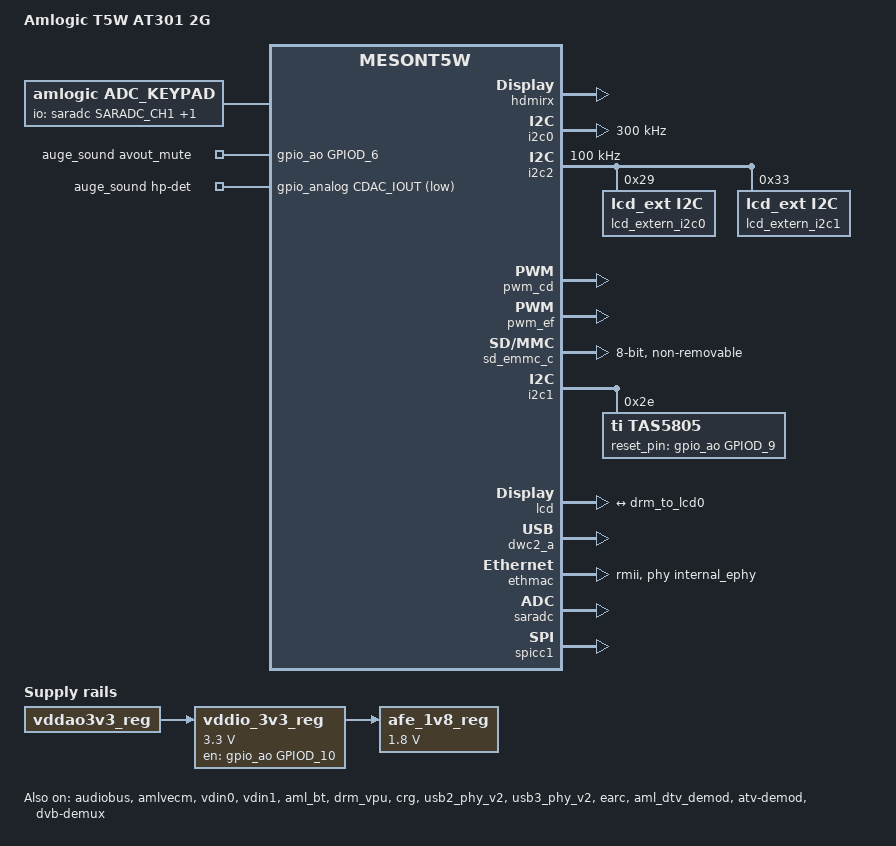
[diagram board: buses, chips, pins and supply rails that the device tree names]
// SPDX-License-Identifier: (GPL-2.0+ OR MIT)
/*
 * Copyright (c) 2019 Amlogic, Inc. All rights reserved.
 */

/dts-v1/;

#include "mesont5w.dtsi"
#include "hdr10plus.dtsi"
#include "partition_normal_linux.dtsi"
#include "mesont5w_at301-panel.dtsi"
#include "mesont5w_drm.dtsi"
#include "meson-ir-map-linux.dtsi"

/ {
	model = "Amlogic T5W AT301 2G";
	amlogic-dt-id = "t5w_at301_2g";
	compatible = "amlogic, t5w";
	interrupt-parent = <&gic>;
	#address-cells = <1>;
	#size-cells = <1>;

	aliases {
		serial0 = &uart_B;
		serial1 = &uart_A;
		serial2 = &uart_C;
		i2c0 = &i2c0;
		i2c1 = &i2c1;
		i2c2 = &i2c2;
		i2c3 = &i2c3;
		spi1 = &spicc0;
		spi2 = &spicc1;
		spi3 = &spicc2;
		tsensor0 = &p_tsensor;
	};

	memory@0 {
		device_type = "memory";
		linux,usable-memory = <0x0 0x80000000>;
	};

	reserved-memory {
		#address-cells = <1>;
		#size-cells = <1>;
		ranges;

		ramdump_bl33z {
			compatible = "shared-dma-pool";
			size = <0x01800000>;
			alignment = <0x00400000>;
			alloc-ranges = <0x05000000 0x07000000>;
			linux,contiguous-region;
			no-map;
			status = "disabled";
		};

		ramdump_data@0 {
			reg = <0x0 0x0>;
			status = "disabled"; /* disabled as default */
		};

		/* global autoconfigured region for contiguous allocations */
		ramoops@7400000 {
			compatible = "ramoops";
			reg = <0x07400000 0x00080000>;/* addr set in uboot */
			record-size = <0x30000>;
			console-size = <0x40000>;
			ftrace-size = <0x0>;
			pmsg-size = <0x10000>;
		};

		dmc_reserved:linux,dmc_monitor {
			compatible = "amlogic,dmc_monitor-reserved";
			reg = <0x0 0x80000>;
		};

		debug_reserved:linux,iotrace {
			compatible = "amlogic, iotrace";
			reg = <0x04f00000 0x00100000>;
			io-size = <0x1b000>;
			sched-size = <0x2000>;
			irq-size = <0x1000>;
			smc-size = <0x1000>;
			misc-size = <0x1000>;
		};

		defendkey_reserved:linux,defendkey {
			compatible = "amlogic, defendkey";
			reg = <0x04e00000 0x100000>;
		};

		secmon_reserved: linux,secmon {
			compatible = "shared-dma-pool";
			no-map;
			size = <0x400000>;
			alignment = <0x400000>;
			alloc-ranges = <0x05000000 0x400000>;
		};

		logo_reserved:linux,meson-fb {
			compatible = "amlogic, meson-fb";
			/* keep sync with fb */
			/* fox example:logo_addr = "0x3f800000"*/
			alignment = <0x400000>;
			reg = <0x3f800000 0x800000>;
		};

		lcd_cma_reserved:linux,lcd-reserved {
			compatible = "amlogic, lcd_rsvd";
			reg = <0x3ec00000 0x00a80000>;
			tcon-size = <0x00a02840>;
		};

		/* global autoconfigured region for contiguous allocations */
		linux,cma {
			compatible = "shared-dma-pool";
			reusable;
			size = <0x800000>;
			alignment = <0x400000>;
			linux,cma-default;
		};

		/*  vdin0 CMA pool */
		/*vdin0_cma_reserved:linux,vdin0_cma {*/
		/*	compatible = "shared-dma-pool";*/
		/*	reusable;*/
			/* up to 1920x1080 yuv422 8bit and 5 buffers
			 * 1920x1080x2x5 = 20 M
			 */
		/*	size = <0x01400000>;*/
		/*	alignment = <0x400000>;*/
		/*};*/
		/*  vdin1 CMA pool */
		vdin1_cma_reserved:linux,vdin1_cma {
			compatible = "shared-dma-pool";
			reusable;
			/* up to 1920x1080 yuv422 8bit and 5 buffers
			 * 1920x1080x2x5 = 20 M
			 */
			size = <0x00c00000>;
			alignment = <0x400000>;
		};

		codec_mm_cma:linux,codec_mm_cma {
			compatible = "shared-dma-pool";
			reusable;
			/* ion_codec_mm max can alloc size 80M*/
			size = <0x1bc00000>;
			alignment = <0x400000>;
			linux,contiguous-region;
		};

		/* demod_cma_reserved:linux,demod_cma {
		 *	compatible = "shared-dma-pool";
		 *	reusable;
		 *	// 40M
		 *	size = <0x02800000>;
		 *	alignment = <0x400000>;
		 *};
		 */

		/*di CMA pool */
		di_cma_reserved:linux,di_cma {
			compatible = "shared-dma-pool";
			reusable;
			/* buffer_size = 3621952(yuv422 8bit)
			 *  | 4736064(yuv422 10bit)
			 *  | 4074560(yuv422 10bit full pack mode)
			 * 10x3621952=34.6M(0x23) support 8bit
			 * 10x4736064=45.2M(0x2e) support 12bit
			 * 10x4074560=40M(0x28) support 10bit
			 */
			//size = <0x0 0x0B000000>;
			size = <0x0>;
			alignment = <0x400000>;
		};

		/* codec shared reserved */
		codec_mm_reserved:linux,codec_mm_reserved {
			compatible = "amlogic, codec-mm-reserved";
			size = <0x0>;
			alignment = <0x100000>;
			//no-map;
		};

		secure_vdec_reserved:linux,secure_vdec_reserved {
			compatible = "amlogic, secure-vdec-reserved";
			no-map;
			size = <0x1000000>;
			alignment = <0x100000>;
		};

		dmaheap_cma_reserved:heap-gfx {
			compatible = "shared-dma-pool";
			reusable;
			/* maximum size of fbdev and wayland-drm backend
			 * fbdev: 2 * (number of /dev/fbx device) buffers
			 * wayland-drm: 4 buffers for westeros or 2 buffers for weston,
			 *   3 buffers for direct display(enabled on weston)
			 */
			size = <0x2400000>;
			alignment = <0x400000>;
		};
		dmaheap_fb_reserved:heap-fb {
			compatible = "shared-dma-pool";
			reusable;
			/* 1080p TV androidT size 36M */
			size = <0x0>;
			alignment = <0x400000>;
		};

		ion_cma_reserved:linux,ion-dev {
			compatible = "shared-dma-pool";
			reusable;
			size = <0x0>;
			alignment = <0x400000>;
		};

		ion_fb_reserved:linux,ion-fb {
			compatible = "shared-dma-pool";
			reusable;
			size = <0x0>;
			alignment = <0x400000>;
			alloc-ranges = <0x0 0x3f400000>;
		};
	};

	vddio_3v3_reg: fixedregulator@5{
		vin-supply = <&vddao3v3_reg>;
		compatible = "regulator-fixed";
		regulator-name = "VDDIO_3V3";
		regulator-min-microvolt = <3300000>;
		regulator-max-microvolt = <3300000>;
		regulator-boot-on;
/*		pinctrl-names = "default"; */
		gpio = <&gpio_ao GPIOD_10 GPIO_ACTIVE_HIGH>;	/* gpio d 10 */
		startup-delay-us = <7000>;
		enable-active-high;
		regulator-always-on;
	};

	afe_1v8_reg: fixedregulator@6{
		compatible = "regulator-fixed";
		vin-supply = <&vddio_3v3_reg>;
		regulator-name = "AFE_1V8";
		regulator-min-microvolt = <1800000>;
		regulator-max-microvolt = <1800000>;
		regulator-boot-on;
		regulator-always-on;
	};

	/* for external keypad */
	adc_keypad {
		compatible = "amlogic, adc_keypad";
		status = "okay";
		key_name = "power","vol-","vol+","enter","menu","source","exit";
		key_num = <7>;
		io-channels = <&saradc SARADC_CH1>,<&saradc SARADC_CH2>;
		io-channel-names = "key-chan-1", "key-chan-2";
		key_chan = <SARADC_CH1 SARADC_CH1 SARADC_CH1 SARADC_CH1
			SARADC_CH1 SARADC_CH2 SARADC_CH2>;
		key_code = <116 114 115 28 139 466 174>;
		key_val = <0 252 468 684 892 252 468>; // Unit: millivolt
		key_tolerance = <70 70 70 70 70 70 70>; // Unit: millivolt
	};

	/* Audio Related start */
	auge_sound {
		compatible = "amlogic, auge-sound-card";
		aml-audio-card,name = "AML-AUGESOUND";

		avout_mute-gpios = <&gpio_ao GPIOD_6 GPIO_ACTIVE_HIGH>;
		av_mute_sleep_time = <900>;
		/* headphone insert det */
		aml-audio-card,hp-det-gpio = <&gpio_analog CDAC_IOUT GPIO_ACTIVE_LOW>;

		interrupts = <GIC_SPI 235 IRQ_TYPE_EDGE_RISING>;
		interrupt-names = "audio_exception64";

		aml-audio-card,dai-link@0 {
			format = "i2s";
			mclk-fs = <256>;
			//continuous-clock;
			//bitclock-inversion;
			//frame-inversion;
			/* master mode */
			bitclock-master = <&tdma>;
			frame-master = <&tdma>;
			/* slave mode */
			/*
			 * bitclock-master = <&tdmacodec>;
			 * frame-master = <&tdmacodec>;
			 */
			/* suffix-name, sync with android audio hal used for */
			suffix-name = "alsaPORT-pcm";
			tdmacpu: cpu {
				sound-dai = <&tdma>;
				dai-tdm-slot-tx-mask =
							<1 1>;
				dai-tdm-slot-rx-mask =
							<1 1>;
				dai-tdm-slot-num = <2>;
				dai-tdm-slot-width = <32>;
				system-clock-frequency = <12288000>;
			};
			tdmacodec: codec {
				sound-dai = <&dummy_codec>;
			};
		};

		aml-audio-card,dai-link@1 {
			format = "i2s";
			mclk-fs = <256>;
			//continuous-clock;
			//bitclock-inversion;
			//frame-inversion;
			/* master mode */
			bitclock-master = <&tdmb>;
			frame-master = <&tdmb>;
			/* slave mode */
			//bitclock-master = <&tdmbcodec>;
			//frame-master = <&tdmbcodec>;
			/* suffix-name, sync with android audio hal used for */
			suffix-name = "alsaPORT-i2s-i2s4hdmirx";
			cpu {
				sound-dai = <&tdmb>;
				dai-tdm-slot-tx-mask = <1 1>;
				dai-tdm-slot-rx-mask = <1 1>;
				dai-tdm-slot-num = <2>;
				dai-tdm-slot-width = <32>;
				system-clock-frequency = <12288000>;
			};
			tdmbcodec: codec {
				prefix-names = "AMP";
				sound-dai = <&tas5805 &acodec>;
			};
		};

		aml-audio-card,dai-link@2 {
			format = "i2s";
			mclk-fs = <256>;
			//continuous-clock;
			//bitclock-inversion;
			//frame-inversion;
			/* master mode */
			bitclock-master = <&tdmc>;
			frame-master = <&tdmc>;
			/* slave mode */
			//bitclock-master = <&tdmccodec>;
			//frame-master = <&tdmccodec>;
			/* suffix-name, sync with android audio hal used for */
			suffix-name = "alsaPORT-i2s4parser";
			cpu {
				sound-dai = <&tdmc>;
				dai-tdm-slot-tx-mask = <1 1>;
				dai-tdm-slot-rx-mask = <1 1>;
				dai-tdm-slot-num = <2>;
				dai-tdm-slot-width = <32>;
				system-clock-frequency = <12288000>;
			};
			tdmccodec: codec {
				sound-dai = <&dummy_codec>;
			};
		};

		aml-audio-card,dai-link@3 {
			mclk-fs = <64>;
			/* suffix-name, sync with android audio hal used for */
			suffix-name = "alsaPORT-pdm-builtinmic";
			cpu {
				sound-dai = <&pdm>;
			};
			codec {
				sound-dai = <&dummy_codec>;
			};
		};

		aml-audio-card,dai-link@4 {
			mclk-fs = <128>;
			continuous-clock;
			/* suffix-name, sync with android audio hal used for */
			suffix-name = "alsaPORT-spdif";
			cpu {
				sound-dai = <&spdifa>;
				system-clock-frequency = <6144000>;
			};
			codec {
				sound-dai = <&dummy_codec>;
			};
		};

		aml-audio-card,dai-link@5 {
			mclk-fs = <128>;
			suffix-name = "alsaPORT-spdifb";
			cpu {
				sound-dai = <&spdifb>;
				system-clock-frequency = <6144000>;
			};
			codec {
				sound-dai = <&dummy_codec>;
			};
		};

		aml-audio-card,dai-link@6 {
			mclk-fs = <256>;
			suffix-name = "alsaPORT-tv";
			cpu {
				sound-dai = <&extn>;
				system-clock-frequency = <12288000>;
			};
			codec {
				sound-dai = <&dummy_codec>;
			};
		};

		aml-audio-card,dai-link@7 {
			mclk-fs = <256>;
			continuous-clock;
			suffix-name = "alsaPORT-loopback";
			cpu {
				sound-dai = <&loopbacka>;
				system-clock-frequency = <12288000>;
			};
			codec {
				sound-dai = <&dummy_codec>;
			};
		};

		aml-audio-card,dai-link@8 {
			mclk-fs = <256>;
			suffix-name = "alsaPORT-earc";
			cpu {
				sound-dai = <&earc>;
				system-clock-frequency = <12288000>;
			};
			codec {
				sound-dai = <&dummy_codec>;
			};
		};

	};

	aml_dtv_demod {
		compatible = "amlogic, ddemod-t5w";
		dev_name = "aml_dtv_demod";
		status = "okay";
		diseqc_name = "sgm_41286";
		pinctrl-names="if_agc_pins", "diseqc_out", "rf_agc_pins";
		pinctrl-0=<&dtvdemod_if_agc_pins>;
		pinctrl-1=<&diseqc_out>;
		pinctrl-2=<&dtvdemod_rf_agc_pins>;
		//pinctrl-3=<&diseqc_in>;
		lnb_en-gpios = <&gpio GPIOZ_2 GPIO_ACTIVE_HIGH>;
		lnb_sel-gpios = <&gpio GPIOZ_3 GPIO_ACTIVE_HIGH>;
		interrupts = <GIC_SPI 142 IRQ_TYPE_EDGE_RISING>;
		interrupt-names = "demod_isr";

		power-domains = <&pwrdm PDID_T5_DEMOD>;
		clocks = <&clkc CLKID_DEMOD_32K>;
		clock-names = "demod_32k";

		reg = <0xff670000 0x10000	/*dtv demod base*/
			   0xff646000 0x2000	/*hiu reg base*/
			   0xff800000 0x1000	/*io_aobus_base*/
			   0xffd01000 0x1000	/*reset*/
			>;

		spectrum = <1>;
		cma_mem_size = <16>; // MB
		//memory-region = <&demod_cma_reserved>;//<&demod_reserved>;
	};

	atv-demod {
		compatible = "amlogic, atv-demod";
		status = "okay";
		btsc_sap_mode = <1>;
		interrupts = <0 236 1>;
		/* pinctrl-names="atvdemod_agc_pins"; */
		/* pinctrl-0=<&atvdemod_agc_pins>; */
		reg = <0xff656000 0x2000 /* demod reg */
				0xff646000 0x2000 /* hiu reg */
				0xff634400 0x400 /* periphs reg */
				0xff64a000 0x2000>; /* audio reg */
		reg_23cf = <0x88188832>;
		/*default:0x88188832;r840 on haier:0x48188832*/
	};

	dvb-extern {
		compatible = "amlogic, dvb-extern";
		dev_name = "dvb-extern";
		status = "okay";

		fe_num = <1>;
		fe0_demod = "internal";

		tuner_num = <2>; /* tuner number, multi tuner support */
		tuner0_name = "si2151_tuner";
		tuner0_i2c_adap = <&i2c0>;
		tuner0_i2c_addr = <0x60>; /* 7 bits */
		/* tuner0_xtal = <1>; */ /* unuse for si2151 */
		/* tuner0_xtal_mode = <0>; */
		/* tuner0_xtal_cap = <8>; */

		tuner1_name = "rt710_tuner";
		tuner1_i2c_adap = <&i2c0>;
		tuner1_i2c_addr = <0xF4>;  /* 8 bits */
		tuner1_xtal = <0>; /* 0: 16MHz, 1: 24MHz */
		tuner1_xtal_mode = <0>;
					/* NO_SHARE_XTAL(0)
					 * SLAVE_XTAL_SHARE(3)
					 */
		tuner1_xtal_cap = <30>;
	};

	dvb-demux {
		compatible = "amlogic sc2, dvb-demux";
		dev_name = "dvb-demux";
		status = "okay";

		reg = <0xff610000 0x10000
				0xff800000 0x10000>;

		dmxdev_num = <0x11>;

		tsn_from = "demod";
		ts_clone = <0x0>;
		ts2_sid = <0x12>;
		ts2 = "parallel";
		ts2_control = <0x0>;
		ts2_invert = <0>;

		ts1_sid = <0x11>;
		ts1 = "parallel";
		ts1_control = <0x0>;
		ts1_invert = <0>;
		pinctrl-names = "p_ts1";
		pinctrl-0 = <&dvb_p_ts1_pins>;
	};
	dvbci {
		compatible = "amlogic, dvbci";
		dev_name = "dvbci";
		io_type = <4>; /* 0=iobus,1=spi,2=cimax,3=spi-t312 4:T5D,ci bus*/
		addr_ts_mode_multiplex = <0>; /*AT301 not multi ts and addr,default 1*/
		le_enable_level = <0>; /*LE pin enable level*/
		/*gpio pin define*/
		pinctrl-names= "ci_ts_pins", "ci_addr_pins";
		pinctrl-0=<&dvb_ci_bus_pins_all &ci_ts_pins &ci_ts_clk_pins>;
		pinctrl-1=<&dvb_ci_bus_pins &ci_addr_pins &ci_gpio_pins>;
		reg = <0xffd20000 0x1FFF>;
		/*irq define*/
		interrupts = <0 186 1
				0 187 1>;
		interrupt-names = "irq_cmp",
					"irq_timeout";
		dvbci_io {
			/*gpio define  GPIOM_27 GPIOM_28 GPIOM_29*/
			cd_pin1 = <&gpio       GPIOM_27       GPIO_ACTIVE_HIGH>;
			pwr_pin = <&gpio       GPIOM_28       GPIO_ACTIVE_HIGH>;
			le_pin  = <&gpio       GPIOM_29       GPIO_ACTIVE_HIGH>;
		};
	};

    /* SMC */
	smartcard {
		compatible = "amlogic,smartcard-sc2";
		dev_name = "smartcard";
		status = "disabled";

		reg = <0xffd25000 0x1000>;
		irq_trigger_type = "GPIO_IRQ_LOW";

		reset_pin-gpios = <&gpio GPIOZ_3 GPIO_ACTIVE_HIGH>;
		detect_pin-gpios = <&gpio GPIOM_27 GPIO_ACTIVE_HIGH>;
		enable_5v3v_pin-gpios = <&gpio GPIOM_28 GPIO_ACTIVE_HIGH>;
		enable_pin-gpios = <&gpio GPIOZ_2 GPIO_ACTIVE_HIGH>;

		interrupts = <0 37 1>;
		interrupt-names = "smc0_irq";
		/*
		 *Smc clock source, if change this,
		 *you must adjust clk and divider in smartcard.c
		 */
		smc0_clock_source = <0>;
		/*0: high voltage on detect pin indicates card in.*/
		smc0_det_invert = <0>;
		smc0_5v3v_level = <0>;
		/*Ordinarily,smartcard controller needs a enable pin.*/
		smc_need_enable_pin = "yes";
		reset_level = <0>;
		smc0_enable_level = <0>;

		pinctrl-names = "default";
		pinctrl-0 = <&sd_iso7816_pins>;

		/* For NSK2 Smartcard
		 * pinctrl-names = "default", "pins-mode0", "pins-mode1",
		 *	"pins-mode2", "data-m0-h",
		 *	"data-m1-h", "data-m2-h",
		 *	"data-m0-l", "data-m1-l",
		 *	"data-m2-l";
		 * pinctrl-0 = <&sd_iso7816_pins>;
		 * pinctrl-1 = <&iso7816_pins_mode_0>;
		 * pinctrl-2 = <&iso7816_pins_mode_1>;
		 * pinctrl-3 = <&iso7816_pins_mode_2>;
		 * pinctrl-4 = <&iso7816_pin_data_m_0_h>;
		 * pinctrl-5 = <&iso7816_pin_data_m_1_h>;
		 * pinctrl-6 = <&iso7816_pin_data_m_2_h>;
		 * pinctrl-7 = <&iso7816_pin_data_m_0_l>;
		 * pinctrl-8 = <&iso7816_pin_data_m_1_l>;
		 * pinctrl-9 = <&iso7816_pin_data_m_2_l>;
		 */

		clocks = <&clkc CLKID_CLK81_SMARTCARD>;
		clock-names = "smartcard";
	};
}; /* end of reserved-memory */

&hdmirx {
	status = "okay";
	pinctrl-0 = <&hdmirx_a_mux &hdmirx_b_mux
		&hdmirx_c_mux>;
	en_4k_2_2k = <0>;
	hpd_low_cec_off = <1>;
	arc_port = <1>;
	/* bit4: enable feature, bit3~0: port number */
	disable_port = <0x0>;
	allm_update_en = <1>;
};

&audiobus {
	status = "okay";
};

&dim { /*multi-di*/
	//status = "okay";
	/***************************************************
	 * memory: default is 4
	 *	0:use reserved;
	 *	1:use cma;
	 *	2:use cma as reserved
	 *  4:use codec mem
	 ***************************************************/
	flag_cma = <4>;//
	//memory-region = <&di_cma_reserved>;
	/***************************************************
	 * clock-range: <min max>
	 *	default: <334 667>
	 ***************************************************/
	//clock-range = <334 667>;
	/***************************************************
	 * en_4k: t5w support 4k
	 ***************************************************/
	en_4k = <1>;
	keep_dec_vf = <2>;
	po_fmt = <6>;
	/***************************************************
	 * post_nub: default is 11 (T7/T3/SC2/S4 new path)
	 * local 7*4075520 = 28
	 * post 11*5222400 = 56 //??
	 ***************************************************/
	post_nub = <11>;
	/***************************************************
	 * 0:not support
	 * bit 0: for 4k
	 * bit 1: for 1080p
	 ***************************************************/
	alloc_sct = <1>;
	/***************************************************
	 * hf: default is 0 (T7/T3/SC2/S4 new path)
	 * 0:not enable;
	 * 1: enable
	 ***************************************************/
	hf = <0>;
	afbce_loss_en = <1>;
	/***************************************************
	 * loss mode for di out (T5w)
	 * 0:not set loss mode for di out;
	 * 1:1:check the loss flag in vf and set for di
	 ***************************************************/
};/* end of multi-di */

&i2c0 {
	status = "okay";
	clock-frequency = <300000>;
	pinctrl-names="default";
	pinctrl-0=<&i2c0_z_pins>;
};

&i2c2 {
	status = "okay";
	clock-frequency = <100000>;
	pinctrl-names="default";
	pinctrl-0=<&i2c2_h_pins1>;

	lcd_extern_i2c0: lcd_extern_i2c@29 {
		compatible = "lcd_ext, i2c";
		dev_name = "i2c_HV650LS";
		reg = <0x29>;
		status = "okay";
	};

	lcd_extern_i2c1: lcd_extern_i2c@33 {
		compatible = "lcd_ext, i2c";
		dev_name = "i2c_CS602";
		reg = <0x33>;
		status = "okay";
	};
};

&pwm_cd {
	status = "okay";
};

&pwm_ef {
	pinctrl-0 = <&pwm_f_pins2>;
	pinctrl-names = "default";
	status = "okay";
};

/* SD card */
&sd_emmc_b {
	status = "disabled";//dvbci use sdcard io, if need use sd,black mask dvbci
	pinctrl-0 = <&sd_all_pins>;
	pinctrl-1 = <&sd_1bit_pins>;
	pinctrl-2 = <&sd_clk_gate_pins>;
	pinctrl-names = "sd_default",
			"sd_1bit_pins",
			"clk-gate";
	bus-width = <4>;
	cap-sd-highspeed;
//	sd-uhs-sdr12;
//	sd-uhs-sdr25;
//	sd-uhs-sdr50;
//	sd_uhs-sdr104;
	max-frequency = <50000000>;

	disable-wp;
	non-removable;
//	amlogic,dram-access-quirk;

//	cd-gpios = <&gpio GPIOC_10 GPIO_ACTIVE_HIGH>;
//	dat1-gpios = <&gpio GPIOC_1 GPIO_ACTIVE_HIGH>;
	//vmmc-supply = <&vddao_3v3>;
	//vqmmc-supply = <&emmc_1v8>;
};

&sd_emmc_c {
	status = "okay";
	pinctrl-names = "default";
	pinctrl-0 = <&emmc_pins>, <&emmc_ds_pins>;

	bus-width = <8>;
	cap-mmc-highspeed;
	mmc-ddr-1_8v;
	mmc-hs200-1_8v;
	mmc-hs400-1_8v;
	max-frequency = <200000000>;
	non-removable;
	disable-wp;

//	mmc-pwrseq = <&emmc_pwrseq>;
//	vmmc-supply = <&vddao_3v3>;
//	vqmmc-supply = <&vddao_1v8>;
};

&mtd_nand {
	status = "disabled";
	#address-cells = <1>;
	#size-cells = <0>;

	bl_mode = <1>;
	fip_copies = <4>;
	fip_size = <0x200000>;
	ship_bad_block = <1>;
	disa_irq_flag = <1>;

	nand@0 {
		reg = <0>;
		#address-cells = <1>;
		#size-cells = <1>;
		nand-ecc-maximize;

		partitions {
			#address-cells = <1>;
			#size-cells = <1>;

			partition@0 {
				label = "bootloader";
				reg = <0x0 0x00000000>;
			};
			partition@1 {
				label = "tpl";
				reg = <0x0 0x00000000>;
			};
			partition@2 {
				label = "logo";
				reg = <0x0 0x00200000>;
			};
			partition@3 {
				label = "recovery";
				reg = <0x0 0x1000000>;
			};
			partition@4 {
				label = "boot";
				reg = <0x0 0x0F00000>;
			};
			partition@5 {
				label = "system";
				reg = <0x0 0x11800000>;
			};
			partition@6 {
				label = "data";
				reg = <0x0 0xffffffff>;
			};
		};
	};
};

&i2c1 {
	pinctrl-names = "default";
	pinctrl-0 = <&i2c1_ao_pins1>;
	status = "okay";
};

&amlvecm {
	status = "okay";
	gamma_en = <1>;/*1:enable ;0:disable*/
	wb_en = <1>;/*1:enable ;0:disable*/
	cm_en = <1>;/*1:enable ;0:disable*/
	wb_sel = <0>;/*1:mtx ;0:gainoff*/
	vlock_en = <1>;/*1:enable;0:disable*/
	vlock_mode = <0x8>;
	vrr_priority = <1>;/*1:game mode vrr always on;0:vrr on depend on vrr signal*/
	/*vlock work mode:
	 *bit0:auto ENC
	 *bit1:auto PLL
	 *bit2:manual PLL
	 *bit3:manual ENC
	 *bit4:manual soft ENC
	 *bit5:manual MIX PLL ENC
	 */
	 vlock_pll_m_limit = <1>;
	 vlock_line_limit = <2>;
	interrupts = <0 87 1>;
	interrupt-names = "lc_curve";
};

/*if you want to use vdin just modify status to "ok"*/
&vdin0 {
	/*memory-region = <&vdin0_cma_reserved>;*/
	status = "okay";
	/*MByte, if 10bit disable: 64M(YUV422),
	 *if 10bit enable: 64*1.5 = 96M(YUV422)
	 *if support 4K2K-YUV444-10bit-WR:3840*2160*4*4 ~= 128M
	 *if support 4K2K-YUV422-10bit-wr:3840*2160*3*4 ~= 96M
	 *if support 4K2K-YUV422-8BIT-WR:3840*2160*2*4 ~= 64M
	 *if support 1080p-YUV422-8BIT-WR:1920*1080*2*4 ~= 16M
	 * onebuffer:
	 * worst case:(4096*2160*3 + 2M(afbce issue)) = 27.5M
	 * dw:960x540x3 = 1.5M
	 * total size:(27.5+1.5)x buffernumber
	 */
	cma_size = <300>;
	frame_buff_num = <11>;
};

&vdin1 {
	memory-region = <&vdin1_cma_reserved>;
	status = "okay";
};

&aml_wifi{
	status = "disabled";
	interrupt-gpios = <&gpio  GPIOC_12  GPIO_ACTIVE_HIGH>;
	power_on-gpios = <&gpio   GPIOC_11  GPIO_ACTIVE_HIGH>;
};

&aml_bt {
	status = "okay";
	reset-gpios = <&gpio    GPIOC_13 GPIO_ACTIVE_HIGH>;
	//hostwake-gpios = <&gpio GPIOC_14 GPIO_ACTIVE_HIGH>;
};

&fb {
	status = "disabled";
	display_size_default = <1920 1080 1920 2160 32>;
	mem_size = <0x00800000 0x1980000 0x100000 0x100000>;
	logo_addr = "0x3f800000";
	/* display_device_cnt = <2>; */ /* for dual screen upport */
	mem_alloc = <0>;
	pxp_mode = <0>; /** 0:normal mode 1:pxp mode */
};

&drm_vpu {
	status = "okay";
	logo_addr = "0x3f800000";
	connectors_dev: port@1 {
		drm_to_lcd0: endpoint@0 {
			reg = <0>;
			remote-endpoint = <&lcd0_to_drm>;
		};
	};
};

&lcd {
	ports {
		port {
			#address-cells = <1>;
			#size-cells = <0>;
			lcd0_to_drm: endpoint@0 {
				reg = <0>;
				remote-endpoint = <&drm_to_lcd0>;
			};
		};
	};
};

&crg {
	status = "okay";
};

&usb2_phy_v2 {
	status = "okay";
	portnum = <3>;
};

&usb3_phy_v2 {
	status = "okay";
	portnum = <0>;
	portconfig-30 = <0>;
	portconfig-31 = <0>;
	otg = <0>;
};

&dwc2_a {
	status = "okay";
	/** 0: normal, 1: otg+dwc3 host only, 2: otg+dwc3 device only*/
	controller-type = <1>;
};

&ethmac {
	status = "okay";
	phy-handle = <&internal_ephy>;
	phy-mode = "rmii";
};

&pinctrl_periphs {
	pdmin: pdmin {
		mux { /* GPIOH_19, GPIOH_18 */
			groups = "pdm_dclk_h19",
				"pdm_din0_h18",
				"pdm_din1_h14";
			function = "pdm";
		};
	};
	tdm_b_pins: tdm_a_pin {
		mux { /* GPIOH_16, GPIOH_15, GPIOH_17 */
			groups = "tdm_sclk1_h",
				"tdm_fs1_h",
				"tdm_d0_h";
			function = "tdm";
		};
	};

	tdmout_a_gpio: tdmout_a_gpio {
		mux { /* GPIOH_15, GPIOH_16, GPIOH_17 */
			groups ="GPIOH_15",
				"GPIOH_16",
				"GPIOH_17";
			function = "gpio_periphs";
			output-low;
		};
	};

	/*backlight*/
	bl_pwm_vs_on_pins:bl_pwm_vs_on_pin {
		mux {
			groups = "pwm_vs_h12";
			function = "pwm_vs";
		};
	};
	bl_pwm_off_pins:bl_pwm_off_pin {
		mux {
			groups = "GPIOH_12";
			function = "gpio_periphs";
			output-low;
		};
	};

	bl_pwm_combo_0_vs_on_pins:bl_pwm_combo_0_vs_on_pin {
		mux {
			groups = "pwm_vs_h12";
			function = "pwm_vs";
		};
	};
	bl_pwm_combo_1_vs_on_pins:bl_pwm_combo_1_vs_on_pin {
		mux {
			groups = "pwm_vs_h13";
			function = "pwm_vs";
		};
	};
	bl_pwm_combo_off_pins:bl_pwm_combo_off_pin {
		mux {
			groups = "GPIOH_12","GPIOH_13";
			function = "gpio_periphs";
			output-low;
		};
	};
	ST6451D06_3_pins: ST6451D06_3_pin {
		mux {
			groups = "tcon_1","tcon_2","tcon_3",
				"tcon_4","tcon_5","tcon_6",
				"tcon_9","tcon_10","tcon_11",
				"tcon_14","tcon_lock";
			function = "tcon";
		};
	};
	ST6451D06_3_off_pins: ST6451D06_3_off_pin {
		mux {
			groups = "GPIOH_1","GPIOH_2","GPIOH_3",
				"GPIOH_4","GPIOH_5","GPIOH_6",
				"GPIOH_9","GPIOH_10","GPIOH_11",
				"GPIOH_14","GPIOH_0";
				function = "gpio_periphs";
			input-enable;
		};
	};
	ST5461D18_2_pins: ST5461D18_2_pin {
		mux {
			groups = "tcon_1","tcon_2","tcon_3",
				"tcon_4","tcon_5","tcon_6",
				"tcon_9","tcon_10","tcon_11",
				"tcon_14","tcon_lock";
			function = "tcon";
		};
	};
	ST5461D18_2_off_pins: ST5461D18_2_off_pin {
		mux {
			groups = "GPIOH_1","GPIOH_2","GPIOH_3",
				"GPIOH_4","GPIOH_5","GPIOH_6",
				"GPIOH_9","GPIOH_10","GPIOH_11",
				"GPIOH_14","GPIOH_0";
				function = "gpio_periphs";
			input-enable;
		};
	};
};

&vdac {
	cdac_disable = <1>;
};

&saradc {
	status = "okay";
};

&pinctrl_audio {
	tdm_d0_pins: tdm_d0_pin {
		mux {
			groups = "tdm_d0";
			function = "tdmoutb_lane0";
		};
	};
	tdm_clk_pins: tdm_clk_pin {
		mux {
			groups = "tdm_sclk0", "tdm_lrclk0";
			function = "tdm_clk_outb";
		};
	};
};

&i2c1 {
	status = "okay";
	tas5805: tas5805@2e {
		compatible = "ti, tas5805";
		#sound-dai-cells = <0>;
		codec_name = "tas5805";
		reset_pin = <&gpio_ao GPIOD_9 GPIO_ACTIVE_HIGH>;
		reg = <0x2e>;
		status = "okay";
	};
};

&uart_A {
	status = "disabled";
	uart-has-rtscts;
};

&earc {
	status = "okay";
};

&spicc0 {	//for TCON/SPINOR
	status = "disabled";
	pinctrl-names = "default";
	pinctrl-0 = <&spicc0_pins_h>;
	cs-gpios = <&gpio GPIOH_8 GPIO_ACTIVE_HIGH>;
	spi-nor@0 {
		compatible = "jedec,spi-nor";
		status = "okay";
		reg = <0>;
		spi-max-frequency = <16000000>;
	};
};

&spicc1 {	//for UWB/LocalDimm
	status = "okay";
	pinctrl-names = "default";
	pinctrl-0 = <&spicc1_pins &spicc1_cs_pins>;
	// cs-gpios = <&gpio GPIOH_22 GPIO_ACTIVE_HIGH>;
	cs2clk-us = <2>;
	clk2cs-us = <12>;
};

&spicc2 {
	status = "disabled";
	pinctrl-names = "default";
	pinctrl-0 = <&spicc2_pins>;
	cs-gpios = <&gpio GPIOC_3 GPIO_ACTIVE_HIGH>;
};

/*For linux platforms, use custom_maps_linux to override the default custom_maps in the IR*/
&remote {
	map = <&custom_maps_linux>;
};

&aml_vpq {
	status = "disabled";
};

&aml_vpp {
	status = "disabled";
};
